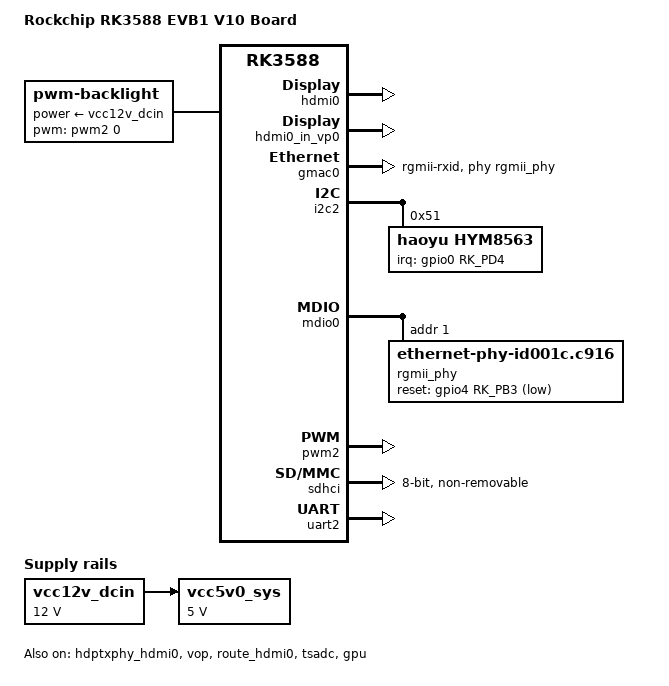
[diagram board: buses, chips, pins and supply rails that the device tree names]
// SPDX-License-Identifier: (GPL-2.0+ OR MIT)
/*
 * Copyright (c) 2021 Rockchip Electronics Co., Ltd.
 *
 */

/dts-v1/;

#include <dt-bindings/gpio/gpio.h>
#include <dt-bindings/pinctrl/rockchip.h>
#include <dt-bindings/display/rockchip_vop.h>
#include "rk3588.dtsi"
#include "rk3588s-rk806-dual.dtsi"

/ {
	model = "Rockchip RK3588 EVB1 V10 Board";
	compatible = "rockchip,rk3588-evb1-v10", "rockchip,rk3588";

	aliases {
		mmc0 = &sdhci;
		serial2 = &uart2;
	};

	chosen {
		stdout-path = "serial2:1500000n8";
	};

	backlight: backlight {
		compatible = "pwm-backlight";
		power-supply = <&vcc12v_dcin>;
		pwms = <&pwm2 0 25000 0>;
	};

	vcc12v_dcin: vcc12v-dcin-regulator {
		compatible = "regulator-fixed";
		regulator-name = "vcc12v_dcin";
		regulator-always-on;
		regulator-boot-on;
		regulator-min-microvolt = <12000000>;
		regulator-max-microvolt = <12000000>;
	};

	vcc5v0_sys: vcc5v0-sys-regulator {
		compatible = "regulator-fixed";
		regulator-name = "vcc5v0_sys";
		regulator-always-on;
		regulator-boot-on;
		regulator-min-microvolt = <5000000>;
		regulator-max-microvolt = <5000000>;
		vin-supply = <&vcc12v_dcin>;
	};
};

&cpu_l0 {
	cpu-supply = <&vdd_cpu_lit_s0>;
	mem-supply = <&vdd_cpu_lit_mem_s0>;
};

&cpu_b0 {
	cpu-supply = <&vdd_cpu_big0_s0>;
	mem-supply = <&vdd_cpu_big0_mem_s0>;
};

&cpu_b2 {
	cpu-supply = <&vdd_cpu_big1_s0>;
	mem-supply = <&vdd_cpu_big1_mem_s0>;
};

&hdmi0 {
	enable-gpios = <&gpio4 RK_PB1 GPIO_ACTIVE_HIGH>;
	status = "okay";
};

&hdmi0_in_vp0 {
	status = "okay";
};

&hdptxphy_hdmi0 {
	status = "okay";
};

&vop_mmu {
	status = "okay";
};

&vop {
	status = "okay";
};

&route_hdmi0 {
	status = "okay";
	connect = <&vp0_out_hdmi0>;
	/delete-property/ force-output;
	/delete-node/ force_timing;
};

&vp0 {
	rockchip,plane-mask = <(1 << ROCKCHIP_VOP2_CLUSTER0 | 1 << ROCKCHIP_VOP2_ESMART0)>;
	rockchip,primary-plane = <ROCKCHIP_VOP2_ESMART0>;
};

&vp1 {
	rockchip,plane-mask = <(1 << ROCKCHIP_VOP2_CLUSTER1 | 1 << ROCKCHIP_VOP2_ESMART1)>;
	rockchip,primary-plane = <ROCKCHIP_VOP2_ESMART1>;
};

&vp2 {
	rockchip,plane-mask = <(1 << ROCKCHIP_VOP2_CLUSTER2 | 1 << ROCKCHIP_VOP2_ESMART2)>;
	rockchip,primary-plane = <ROCKCHIP_VOP2_ESMART2>;
};

&vp3 {
	rockchip,plane-mask = <(1 << ROCKCHIP_VOP2_CLUSTER3 | 1 << ROCKCHIP_VOP2_ESMART3)>;
	rockchip,primary-plane = <ROCKCHIP_VOP2_ESMART3>;
};

&gmac0 {
	clock_in_out = "output";
	phy-handle = <&rgmii_phy>;
	phy-mode = "rgmii-rxid";
	pinctrl-0 = <&gmac0_miim
		     &gmac0_tx_bus2
		     &gmac0_rx_bus2
		     &gmac0_rgmii_clk
		     &gmac0_rgmii_bus>;
	pinctrl-names = "default";
	rx_delay = <0x00>;
	tx_delay = <0x43>;
	status = "okay";
	mac-address = [ fe 46 f2 84 84 fe ];
};

&i2c2 {
	status = "okay";

	hym8563: rtc@51 {
		compatible = "haoyu,hym8563";
		reg = <0x51>;
		#clock-cells = <0>;
		clock-output-names = "hym8563";
		pinctrl-names = "default";
		pinctrl-0 = <&hym8563_int>;
		interrupt-parent = <&gpio0>;
		interrupts = <RK_PD4 IRQ_TYPE_LEVEL_LOW>;
		wakeup-source;
	};
};

&mdio0 {
	rgmii_phy: ethernet-phy@1 {
		/* RTL8211F */
		compatible = "ethernet-phy-id001c.c916";
		reg = <0x1>;
		pinctrl-names = "default";
		pinctrl-0 = <&rtl8211f_rst>;
		reset-assert-us = <20000>;
		reset-deassert-us = <100000>;
		reset-gpios = <&gpio4 RK_PB3 GPIO_ACTIVE_LOW>;
	};
};

&pinctrl {
	rtl8211f {
		rtl8211f_rst: rtl8211f-rst {
			rockchip,pins = <4 RK_PB3 RK_FUNC_GPIO &pcfg_pull_none>;
		};

	};

	hym8563 {
		hym8563_int: hym8563-int {
			rockchip,pins = <0 RK_PD4 RK_FUNC_GPIO &pcfg_pull_up>;
		};
	};
};

&pwm2 {
	status = "okay";
};

&sdhci {
	bus-width = <8>;
	no-sdio;
	no-sd;
	non-removable;
	max-frequency = <200000000>;
	mmc-hs400-1_8v;
	mmc-hs400-enhanced-strobe;
	status = "okay";
};

&tsadc {
	status = "okay";
};

&uart2 {
	pinctrl-0 = <&uart2m0_xfer>;
	status = "okay";
};

&gpu {
	mali-supply = <&vdd_gpu_s0>;
	sram-supply = <&vdd_gpu_mem_s0>;
	status = "okay";
};
